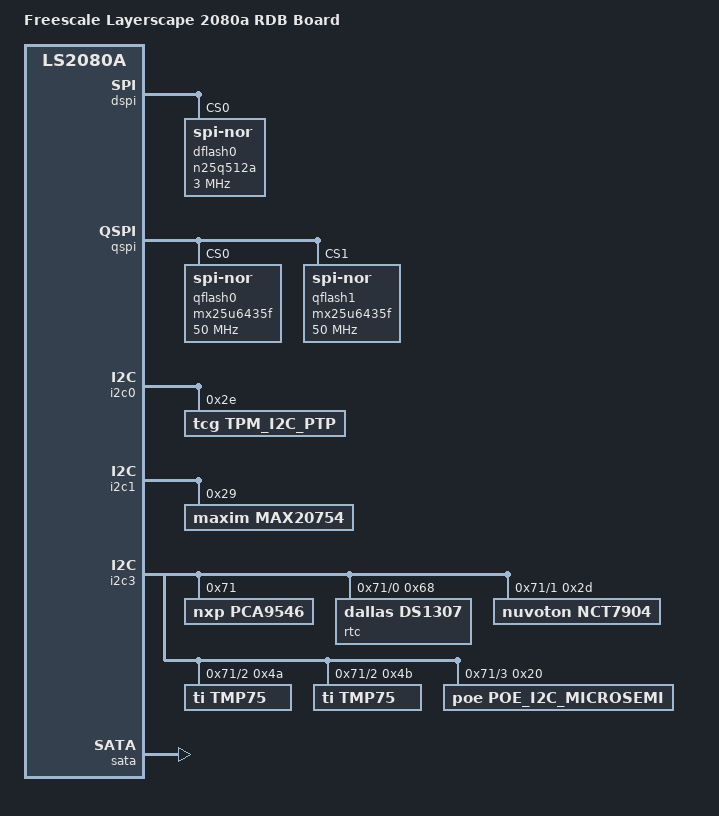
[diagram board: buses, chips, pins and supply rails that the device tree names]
// SPDX-License-Identifier: GPL-2.0+ OR X11
/*
 * NXP ls2080a RDB board device tree source for QSPI-boot
 *
 * Author: Priyanka Jain <priyanka.jain@nxp.com>
 *
 * Copyright 2017 NXP
 */

/dts-v1/;

#include "fsl-ls2080a.dtsi"

/ {
	model = "Freescale Layerscape 2080a RDB Board";
	compatible = "fsl,ls2080a-rdb", "fsl,ls2080a";

	aliases {
		spi0 = &qspi;
		spi1 = &dspi;
	};
};

&dspi {
	bus-num = <0>;
	status = "okay";

	dflash0: n25q512a {
		#address-cells = <1>;
		#size-cells = <1>;
		compatible = "jedec,spi-nor";
		spi-max-frequency = <3000000>;
		spi-cpol;
		spi-cpha;
		reg = <0>;
	};
};

&qspi {
	bus-num = <0>;
	status = "okay";
#if 0
	qflash0: s25fs512s@0 {
		#address-cells = <1>;
		#size-cells = <1>;
		compatible = "jedec,spi-nor";
		spi-max-frequency = <50000000>;
		reg = <0>;
	};

	qflash1: s25fs512s@1 {
		#address-cells = <1>;
		#size-cells = <1>;
		compatible = "jedec,spi-nor";
		spi-max-frequency = <50000000>;
		reg = <1>;
	};
#endif
	qflash0: mx25u6435f@0 {
		#address-cells = <1>;
		#size-cells = <1>;
		compatible = "jedec,spi-nor";
		spi-max-frequency = <50000000>;
		reg = <0>;
	};

	qflash1: mx25u6435f@1 {
		#address-cells = <1>;
		#size-cells = <1>;
		compatible = "jedec,spi-nor";
		spi-max-frequency = <50000000>;
		reg = <1>;
	};
};

&i2c0 {
	status = "okay";
	u-boot,dm-pre-reloc;
#if 1
	tpm_i2c_ptp@2e {
        compatible = "tcg,tpm_i2c_ptp";
        reg = <0x2e>;
    };
#else
	pca9547@75 {
		compatible = "nxp,pca9547";
		reg = <0x75>;
		#address-cells = <1>;
		#size-cells = <0>;

		 i2c@1 {
			#address-cells = <1>;
			#size-cells = <0>;
			reg = <0x01>;
			rtc@68 {
				compatible = "dallas,ds3232";
				reg = <0x68>;
			};
		};
	};
#endif
};

&i2c1 {
	status = "okay";
	max20754@29 {
        compatible = "maxim,max20754";
        reg = <0x29>;
	};
};

&i2c3 {
	status = "okay";
	pca9546@71 {
		compatible = "nxp,pca9546";
		reg = <0x71>;
		#address-cells = <1>;
		#size-cells = <0>;
		i2c-mux-never-disable;
		i2c@0 {
			#address-cells = <1>;
			#size-cells = <0>;
			reg = <0x00>;
			rtc@68 {
				compatible = "dallas,ds1307";
				reg = <0x68>;
			};
		};

		i2c@1 {
			#address-cells = <1>;
			#size-cells = <0>;
			reg = <0x01>;
			nct7904@2d {
            	compatible = "nuvoton,nct7904";
            	reg = <0x2d>;
			};
		};

		i2c@2 {
			#address-cells = <1>;
			#size-cells = <0>;
			reg = <0x02>;
			tmp75@4a {
            	compatible = "ti,tmp75";
            	reg = <0x4a>;
			};
			tmp75@4b {
            	compatible = "ti,tmp75";
            	reg = <0x4b>;
			};
		};

		i2c@3 {
			#address-cells = <1>;
			#size-cells = <0>;
			reg = <0x03>;
			poe@20 {
            	compatible = "poe,poe_i2c_microsemi";
            	reg = <0x20>;
			};
		};
    };
};

&sata {
	status = "okay";
};
